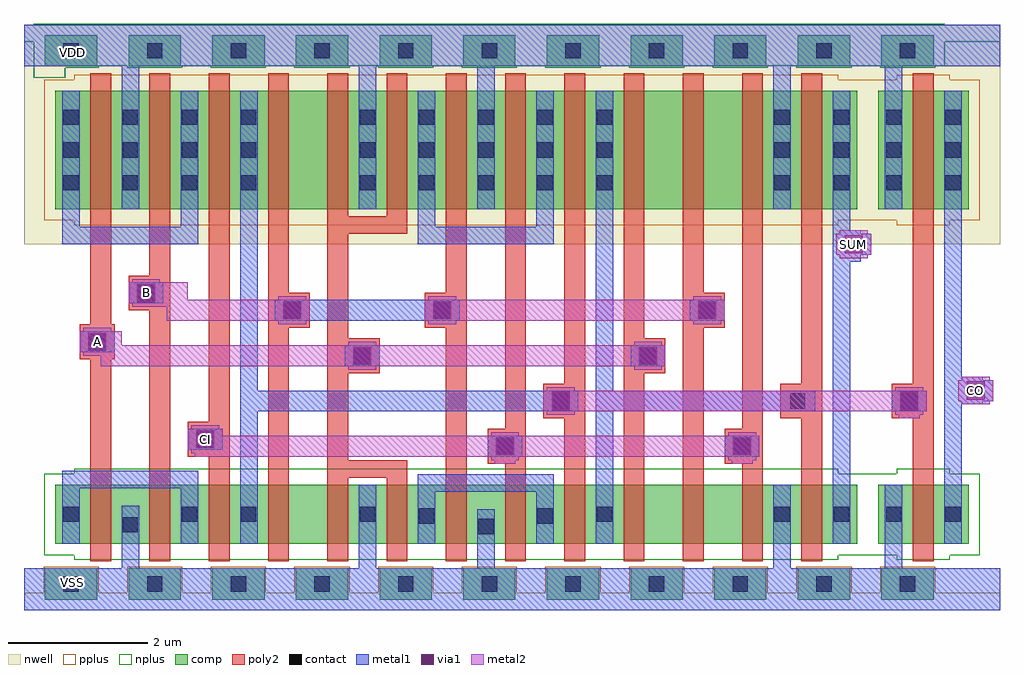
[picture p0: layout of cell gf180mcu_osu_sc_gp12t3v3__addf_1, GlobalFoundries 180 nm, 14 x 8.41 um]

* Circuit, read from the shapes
.subckt gf180mcu_osu_sc_gp12t3v3__addf_1 A B CI CO SUM VDD VSS
XM1 VSS A n1 VSS nfet_03v3 w=0.85u l=0.3u
XM2 n1 B VSS VSS nfet_03v3 w=0.85u l=0.3u
XM3 n2 CI n1 VSS nfet_03v3 w=0.85u l=0.3u
XM4 n3 B n2 VSS nfet_03v3 w=0.85u l=0.3u
XM5 VSS A n3 VSS nfet_03v3 w=0.85u l=0.3u
XM6 n4 A VSS VSS nfet_03v3 w=0.85u l=0.3u
XM7 VSS B n4 VSS nfet_03v3 w=0.85u l=0.3u
XM8 n4 CI VSS VSS nfet_03v3 w=0.85u l=0.3u
XM9 n5 n2 n4 VSS nfet_03v3 w=0.85u l=0.3u
XM10 n6 A n5 VSS nfet_03v3 w=0.85u l=0.3u
XM11 n7 B n6 VSS nfet_03v3 w=0.85u l=0.3u
XM12 VSS CI n7 VSS nfet_03v3 w=0.85u l=0.3u
XM13 SUM n5 VSS VSS nfet_03v3 w=0.85u l=0.3u
XM14 CO n2 VSS VSS nfet_03v3 w=0.85u l=0.3u
XM15 VDD A n8 VDD pfet_03v3 w=1.7u l=0.3u
XM16 n8 B VDD VDD pfet_03v3 w=1.7u l=0.3u
XM17 n2 CI n8 VDD pfet_03v3 w=1.7u l=0.3u
XM18 n9 B n2 VDD pfet_03v3 w=1.7u l=0.3u
XM19 VDD A n9 VDD pfet_03v3 w=1.7u l=0.3u
XM20 n10 A VDD VDD pfet_03v3 w=1.7u l=0.3u
XM21 VDD B n10 VDD pfet_03v3 w=1.7u l=0.3u
XM22 n10 CI VDD VDD pfet_03v3 w=1.7u l=0.3u
XM23 n5 n2 n10 VDD pfet_03v3 w=1.7u l=0.3u
XM24 n11 A n5 VDD pfet_03v3 w=1.7u l=0.3u
XM25 n12 B n11 VDD pfet_03v3 w=1.7u l=0.3u
XM26 VDD CI n12 VDD pfet_03v3 w=1.7u l=0.3u
XM27 SUM n5 VDD VDD pfet_03v3 w=1.7u l=0.3u
XM28 CO n2 VDD VDD pfet_03v3 w=1.7u l=0.3u
.ends

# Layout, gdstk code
import gdstk
lib = gdstk.Library(unit=1e-6, precision=1e-09)
def R(c, l, rs):  # rectangles x0, y0, x1, y1
    for r in rs: c.add(gdstk.rectangle(r[:2], r[2:], *l))
def A(c, l, x, y, w, h, nx, ny, dx, dy):  # array of equal rectangles
    R(c, l, [(x+i*dx, y+j*dy, x+i*dx+w, y+j*dy+h) for i in range(nx) for j in range(ny)])
nwell = (21, 0)
comp = (22, 0)
poly2 = (30, 0)
pplus = (31, 0)
nplus = (32, 0)
contact = (33, 0)
metal1 = (34, 0)
via1 = (35, 0)
metal2 = (36, 0)

gf180mcu_osu_sc_gp12t3v3 = lib.new_cell('gf180mcu_osu_sc_gp12t3v3__addf_1')
R(gf180mcu_osu_sc_gp12t3v3, nwell, [(0,5.25,14,8.4)])
A(gf180mcu_osu_sc_gp12t3v3, comp, 0.3, 0.15, 0.75, 0.45, 11, 2, 1.2, 7.65)
R(gf180mcu_osu_sc_gp12t3v3, comp, [(0.45,0.95,11.95,1.8), (12.25,0.95,13.55,1.8), (0.45,5.75,11.95,7.45), (12.25,5.75,13.55,7.45)])
R(gf180mcu_osu_sc_gp12t3v3, poly2, [(0.95,0.7,1.25,3.6), (1.8,0.7,2.1,4.3), (2.65,0.7,2.95,2.2), (3.5,0.7,3.8,4.05), (4.35,0.7,4.65,1.9), (5.2,0.7,5.5,1.9), (6.05,0.7,6.35,4.05), (6.9,0.7,7.2,2.1), (7.75,0.7,8.05,2.75), (8.6,0.7,8.9,3.4), (9.45,0.7,9.75,4.05), (10.3,0.7,10.6,2.1), (11.15,0.7,11.45,2.75), (12.75,0.7,13.05,2.75), (4.35,1.9,5.5,2.15), (6.65,2.1,7.2,2.6), (10.05,2.1,10.6,2.6), (4.35,2.15,4.65,3.4), (2.35,2.2,2.95,2.7), (6.9,2.6,7.2,7.7), (10.3,2.6,10.6,7.7), (2.65,2.7,2.95,7.7), (7.45,2.75,8.05,3.25), (10.85,2.75,11.45,3.25), (12.45,2.75,13.05,3.25), (7.75,3.25,8.05,7.7), (11.15,3.25,11.45,7.7), (12.75,3.25,13.05,7.7), (4.35,3.4,5.1,3.9), (8.6,3.4,9.2,3.9), (0.8,3.6,1.3,4.1), (4.35,3.9,4.65,5.4), (8.6,3.9,8.9,7.7), (3.5,4.05,4.1,4.55), (5.75,4.05,6.35,4.55), (9.45,4.05,10.05,4.55), (0.95,4.1,1.25,7.7), (1.5,4.3,2.1,4.8), (3.5,4.55,3.8,7.7), (6.05,4.55,6.35,7.7), (9.45,4.55,9.75,7.7), (1.8,4.8,2.1,7.7), (4.35,5.4,5.5,5.65), (4.35,5.65,4.65,7.7), (5.2,5.65,5.5,7.7)])
A(gf180mcu_osu_sc_gp12t3v3, pplus, 0.28, 0.13, 0.79, 0.49, 11, 1, 1.2, 0)
R(gf180mcu_osu_sc_gp12t3v3, pplus, [(0,0,14,0.25), (0.72,5.52,11.68,5.59), (12.52,5.52,13.28,5.59), (0.29,5.59,13.71,7.61), (0.72,7.61,11.68,7.68), (12.52,7.61,13.28,7.68)])
A(gf180mcu_osu_sc_gp12t3v3, nplus, 1.48, 7.78, 0.79, 0.03, 10, 1, 1.2, 0)
R(gf180mcu_osu_sc_gp12t3v3, nplus, [(0.72,0.72,11.68,0.79), (12.52,0.72,13.28,0.79), (0.29,0.79,13.71,1.96), (0.72,1.96,11.68,2.03), (12.52,1.96,13.28,2.03), (0.14,7.64,0.59,7.78), (0.14,7.78,1.07,7.81), (0.14,7.81,13.21,8.15), (0,8.15,14,8.4), (0,8.15,14,8.4), (0.14,8.4,13.21,8.41)])
A(gf180mcu_osu_sc_gp12t3v3, contact, 0.565, 0.265, 0.22, 0.22, 11, 2, 1.2, 7.65)
A(gf180mcu_osu_sc_gp12t3v3, contact, 0.565, 6.02, 0.22, 0.22, 4, 3, 0.85, 0.47)
A(gf180mcu_osu_sc_gp12t3v3, contact, 4.815, 6.02, 0.22, 0.22, 5, 3, 0.85, 0.47)
A(gf180mcu_osu_sc_gp12t3v3, contact, 10.765, 6.02, 0.22, 0.22, 1, 3, 0, 0.47)
A(gf180mcu_osu_sc_gp12t3v3, contact, 11.615, 6.02, 0.22, 0.22, 1, 3, 0, 0.47)
A(gf180mcu_osu_sc_gp12t3v3, contact, 12.365, 6.02, 0.22, 0.22, 1, 3, 0, 0.47)
A(gf180mcu_osu_sc_gp12t3v3, contact, 13.215, 6.02, 0.22, 0.22, 1, 3, 0, 0.47)
R(gf180mcu_osu_sc_gp12t3v3, contact, [(6.515,1.09,6.735,1.31), (1.415,1.115,1.635,1.335), (5.665,1.24,5.885,1.46), (7.365,1.24,7.585,1.46), (0.565,1.265,0.785,1.485), (2.265,1.265,2.485,1.485), (3.115,1.265,3.335,1.485), (4.815,1.265,5.035,1.485), (8.215,1.265,8.435,1.485), (10.765,1.265,10.985,1.485), (11.615,1.265,11.835,1.485), (12.365,1.265,12.585,1.485), (13.215,1.265,13.435,1.485), (6.79,2.24,7.01,2.46), (10.19,2.24,10.41,2.46), (2.49,2.34,2.71,2.56), (7.59,2.89,7.81,3.11), (10.99,2.89,11.21,3.11), (12.59,2.89,12.81,3.11), (4.74,3.54,4.96,3.76), (8.84,3.54,9.06,3.76), (0.94,3.74,1.16,3.96), (3.74,4.19,3.96,4.41), (5.89,4.19,6.11,4.41), (9.69,4.19,9.91,4.41), (1.64,4.44,1.86,4.66)])
R(gf180mcu_osu_sc_gp12t3v3, metal1, [(0,0,14,0.6), (1.4,0.6,1.65,1.5), (4.8,0.6,5.05,1.8), (6.5,0.6,6.75,1.45), (10.75,0.6,11,1.8), (12.35,0.6,12.6,1.8), (0.55,0.95,0.8,1.75), (2.25,0.95,2.5,1.75), (3.1,0.95,3.35,2.85), (5.65,0.95,5.9,1.7), (7.35,0.95,7.6,1.7), (8.2,0.95,8.45,2.85), (11.6,0.95,11.85,5), (13.2,0.95,13.45,2.95), (5.65,1.7,7.6,1.95), (0.55,1.75,2.5,2), (6.65,2.2,7.15,2.5), (10.05,2.2,10.55,2.5), (2.35,2.3,2.85,2.6), (3.1,2.85,7.95,3.15), (8.2,2.85,11.35,3.15), (12.45,2.85,12.95,3.15), (13.2,2.95,13.75,3), (13.2,3,13.9,3.3), (3.1,3.15,3.35,7.45), (8.2,3.15,8.45,7.45), (13.2,3.3,13.75,3.35), (13.2,3.35,13.45,7.45), (4.6,3.5,5.1,3.8), (8.7,3.5,9.2,3.8), (0.8,3.7,1.3,4), (3.6,4.15,6.25,4.45), (9.55,4.15,10.05,4.45), (1.5,4.4,2,4.7), (11.6,5,12,5.1), (11.6,5.1,12.15,5.4), (0.55,5.25,2.5,5.5), (5.65,5.25,7.6,5.5), (11.6,5.4,12,5.45), (11.6,5.45,11.85,7.45), (0.55,5.5,0.8,7.45), (2.25,5.5,2.5,7.45), (5.65,5.5,5.9,7.45), (7.35,5.5,7.6,7.45), (1.4,5.75,1.65,7.8), (4.8,5.75,5.05,7.8), (6.5,5.75,6.75,7.8), (10.75,5.75,11,7.8), (12.35,5.75,12.6,7.8), (0,7.8,14,8.4)])
R(gf180mcu_osu_sc_gp12t3v3, via1, [(6.77,2.22,7.03,2.48), (10.17,2.22,10.43,2.48), (2.47,2.32,2.73,2.58), (7.57,2.87,7.83,3.13), (12.57,2.87,12.83,3.13), (13.52,3.02,13.78,3.28), (4.72,3.52,4.98,3.78), (8.82,3.52,9.08,3.78), (0.92,3.72,1.18,3.98), (3.72,4.17,3.98,4.43), (5.87,4.17,6.13,4.43), (9.67,4.17,9.93,4.43), (1.62,4.42,1.88,4.68), (11.77,5.12,12.03,5.38)])
R(gf180mcu_osu_sc_gp12t3v3, metal2, [(6.75,2.1,7.05,2.15), (10.15,2.1,10.45,2.15), (6.7,2.15,7.1,2.2), (10.1,2.15,10.5,2.2), (2.45,2.2,10.55,2.25), (2.4,2.25,10.55,2.3), (2.35,2.3,10.55,2.5), (2.35,2.5,2.85,2.6), (6.7,2.5,7.1,2.55), (10.1,2.5,10.5,2.55), (2.4,2.6,2.8,2.65), (12.55,2.75,12.85,2.8), (7.5,2.8,7.9,2.85), (12.5,2.8,12.9,2.85), (7.45,2.85,12.95,3.15), (13.45,2.95,13.85,3), (13.4,3,13.9,3.3), (7.5,3.15,7.9,3.2), (12.5,3.15,12.9,3.2), (13.45,3.3,13.85,3.35), (4.65,3.45,5.05,3.5), (8.75,3.45,9.15,3.5), (1.1,3.5,9.2,3.65), (0.85,3.65,9.2,3.7), (0.8,3.7,9.2,3.8), (0.8,3.8,1.4,4), (4.65,3.8,5.05,3.85), (8.75,3.8,9.15,3.85), (0.85,4,1.25,4.05), (3.65,4.1,4.05,4.15), (5.8,4.1,6.2,4.15), (9.6,4.1,10,4.15), (2.05,4.15,4.1,4.35), (5.75,4.15,10.05,4.45), (1.55,4.35,4.1,4.4), (1.5,4.4,4.1,4.45), (1.5,4.45,2.35,4.7), (3.65,4.45,4.05,4.5), (5.8,4.45,6.2,4.5), (9.6,4.45,10,4.5), (1.55,4.7,1.95,4.75), (11.7,5.05,12.1,5.1), (11.65,5.1,12.15,5.4), (11.7,5.4,12.1,5.45)])
gf180mcu_osu_sc_gp12t3v3.add(gdstk.Label('A', (1.05,3.85), layer=36, texttype=10))
gf180mcu_osu_sc_gp12t3v3.add(gdstk.Label('B', (1.75,4.55), layer=36, texttype=10))
gf180mcu_osu_sc_gp12t3v3.add(gdstk.Label('CI', (2.6,2.45), layer=36, texttype=10))
gf180mcu_osu_sc_gp12t3v3.add(gdstk.Label('SUM', (11.9,5.25), layer=36, texttype=10))
gf180mcu_osu_sc_gp12t3v3.add(gdstk.Label('CO', (13.65,3.15), layer=36, texttype=10))
gf180mcu_osu_sc_gp12t3v3.add(gdstk.Label('VSS', (0.7,0.4), layer=34, texttype=10))
gf180mcu_osu_sc_gp12t3v3.add(gdstk.Label('VDD', (0.7,8), layer=34, texttype=10))

lib.write_gds('gf180mcu_osu_sc_gp12t3v3__addf_1.gds')
